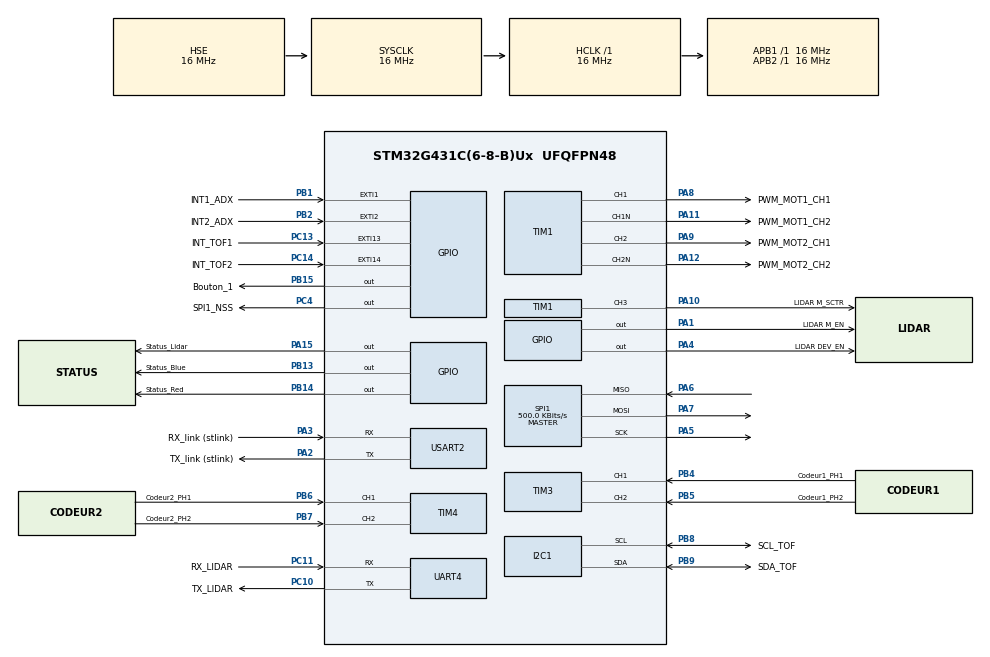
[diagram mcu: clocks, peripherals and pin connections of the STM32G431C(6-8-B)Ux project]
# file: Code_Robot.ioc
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I2C1.Timing=0x00503D58
Mcu.Family=STM32G4
Mcu.Name=STM32G431C(6-8-B)Ux
Mcu.Package=UFQFPN48
NVIC.EXTI1_IRQn=true\:0\:0\:false\:false\:true\:true\:true\:true
NVIC.EXTI2_IRQn=true\:0\:0\:false\:false\:true\:true\:true\:true
NVIC.PriorityGroup=NVIC_PRIORITYGROUP_4
PA1.GPIO_Label=LIDAR M_EN
PA1.Signal=GPIO_Output
PA10.GPIO_Label=LIDAR M_SCTR
PA10.Signal=S_TIM1_CH3
PA11.GPIO_Label=PWM_MOT1_CH2
PA11.Mode=PWM Generation1 CH1 CH1N
PA11.Signal=TIM1_CH1N
PA12.GPIO_Label=PWM_MOT2_CH2
PA12.Mode=PWM Generation2 CH2 CH2N
PA12.Signal=TIM1_CH2N
PA13.Mode=Serial_Wire
PA13.Signal=SYS_JTMS-SWDIO
PA14.Mode=Serial_Wire
PA14.Signal=SYS_JTCK-SWCLK
PA15.GPIO_Label=Status_Lidar
PA15.Signal=GPIO_Output
PA2.GPIO_Label=TX_link (stlink)
PA2.Mode=Asynchronous
PA2.Signal=USART2_TX
PA3.GPIO_Label=RX_link (stlink)
PA3.Mode=Asynchronous
PA3.Signal=USART2_RX
PA4.GPIO_Label=LIDAR DEV_EN
PA4.Signal=GPIO_Output
PA5.Mode=Full_Duplex_Master
PA5.Signal=SPI1_SCK
PA6.Mode=Full_Duplex_Master
PA6.Signal=SPI1_MISO
PA7.Mode=Full_Duplex_Master
PA7.Signal=SPI1_MOSI
PA8.GPIO_Label=PWM_MOT1_CH1
PA8.Signal=S_TIM1_CH1
PA9.GPIO_Label=PWM_MOT2_CH1
PA9.Signal=S_TIM1_CH2
PB1.GPIO_Label=INT1_ADX
PB1.Signal=GPXTI1
PB13.GPIO_Label=Status_Blue
PB13.Signal=GPIO_Output
PB14.GPIO_Label=Status_Red
PB14.Signal=GPIO_Output
PB15.GPIO_Label=Bouton_1
PB15.Signal=GPIO_Output
PB2.GPIO_Label=INT2_ADX
PB2.Signal=GPXTI2
PB4.GPIO_Label=Codeur1_PH1
PB4.Signal=S_TIM3_CH1
PB5.GPIO_Label=Codeur1_PH2
PB5.Signal=S_TIM3_CH2
PB6.GPIO_Label=Codeur2_PH1
PB6.Signal=S_TIM4_CH1
PB7.GPIO_Label=Codeur2_PH2
PB7.Signal=S_TIM4_CH2
PB8-BOOT0.GPIO_Label=SCL_TOF
PB8-BOOT0.Mode=I2C
PB8-BOOT0.Signal=I2C1_SCL
PB9.GPIO_Label=SDA_TOF
PB9.Mode=I2C
PB9.Signal=I2C1_SDA
PC10.GPIO_Label=TX_LIDAR
PC10.Mode=Asynchronous
PC10.Signal=UART4_TX
PC11.GPIO_Label=RX_LIDAR
PC11.Mode=Asynchronous
PC11.Signal=UART4_RX
PC13.GPIO_Label=INT_TOF1
PC13.Signal=GPXTI13
PC14-OSC32_IN.GPIO_Label=INT_TOF2
PC14-OSC32_IN.Signal=GPXTI14
PC4.GPIO_Label=SPI1_NSS
PC4.PinState=GPIO_PIN_SET
PC4.Signal=GPIO_Output
PF0-OSC_IN.Mode=HSE-External-Oscillator
PF0-OSC_IN.Signal=RCC_OSC_IN
PF1-OSC_OUT.Mode=HSE-External-Oscillator
PF1-OSC_OUT.Signal=RCC_OSC_OUT
ProjectManager.HeapSize=0x200
ProjectManager.StackSize=0x400
ProjectManager.TargetToolchain=STM32CubeIDE
RCC.ADC12Freq_Value=16000000
RCC.AHBFreq_Value=16000000
RCC.APB1Freq_Value=16000000
RCC.APB1TimFreq_Value=16000000
RCC.APB2Freq_Value=16000000
RCC.APB2TimFreq_Value=16000000
RCC.CortexFreq_Value=16000000
RCC.EXTERNAL_CLOCK_VALUE=12288000
RCC.HCLKFreq_Value=16000000
RCC.HSE_VALUE=16000000
RCC.HSI48_VALUE=48000000
RCC.HSI_VALUE=16000000
RCC.LSE_VALUE=32768
RCC.PLLSourceVirtual=RCC_PLLSOURCE_HSE
RCC.SYSCLKFreq_VALUE=16000000
RCC.SYSCLKSource=RCC_SYSCLKSOURCE_HSE
RCC.USBFreq_Value=64000000
RCC.VCOOutputFreq_Value=128000000
SH.S_TIM1_CH1.0=TIM1_CH1,PWM Generation1 CH1 CH1N
SH.S_TIM1_CH2.0=TIM1_CH2,PWM Generation2 CH2 CH2N
SH.S_TIM1_CH3.0=TIM1_CH3,PWM Generation3 CH3
SH.S_TIM3_CH1.0=TIM3_CH1,Encoder_Interface
SH.S_TIM3_CH2.0=TIM3_CH2,Encoder_Interface
SH.S_TIM4_CH1.0=TIM4_CH1,Encoder_Interface
SH.S_TIM4_CH2.0=TIM4_CH2,Encoder_Interface
SPI1.BaudRatePrescaler=SPI_BAUDRATEPRESCALER_32
SPI1.CLKPhase=SPI_PHASE_2EDGE
SPI1.CLKPolarity=SPI_POLARITY_HIGH
SPI1.CalculateBaudRate=500.0 KBits/s
SPI1.DataSize=SPI_DATASIZE_8BIT
SPI1.Direction=SPI_DIRECTION_2LINES
SPI1.Mode=SPI_MODE_MASTER
SPI1.VirtualType=VM_MASTER
TIM1.Channel-PWM\ Generation1\ CH1\ CH1N=TIM_CHANNEL_1
TIM1.Channel-PWM\ Generation2\ CH2\ CH2N=TIM_CHANNEL_2
TIM1.Channel-PWM\ Generation3\ CH3=TIM_CHANNEL_3
USART2.VirtualMode-Asynchronous=VM_ASYNC
VP_SYS_VS_DBSignals.Mode=DisableDeadBatterySignals
board=custom

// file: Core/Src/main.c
/* USER CODE BEGIN Header */
/**
 ******************************************************************************
 * @file           : main.c
 * @brief          : Main program body
 ******************************************************************************
 * @attention
 *
 * Copyright (c) 2024 STMicroelectronics.
 * All rights reserved.
 *
 * This software is licensed under terms that can be found in the LICENSE file
 * in the root directory of this software component.
 * If no LICENSE file comes with this software, it is provided AS-IS.
 *
 ******************************************************************************
 */
/* USER CODE END Header */
#include "main.h"
#include "i2c.h"
#include "spi.h"
#include "tim.h"
#include "usart.h"
#include "gpio.h"

/* USER CODE BEGIN Includes */

#include "ADXL343_SPI.h"

int _write(int file, char *ptr, int len) {
	HAL_UART_Transmit(&huart2, (uint8_t *)ptr, len, HAL_MAX_DELAY);
	return len;
}

extern SPI_HandleTypeDef hspi1;
ADXL343 accelerometer;

/* USER CODE END Includes */

void SystemClock_Config(void);

/* USER CODE BEGIN 0 */

void SystemClock_Config(void);
/* USER CODE BEGIN PFP */

/* USER CODE END PFP */

/* Private user code ---------------------------------------------------------*/
/* USER CODE BEGIN 0 */

/* USER CODE END 0 */

int main(void)
{

  /* MCU Configuration--------------------------------------------------------*/

  /* Reset of all peripherals, Initializes the Flash interface and the Systick. */
  HAL_Init();

  /* Configure the system clock */
  SystemClock_Config();

  /* Initialize all configured peripherals */
  MX_GPIO_Init();
  MX_I2C1_Init();
  MX_SPI1_Init();
  MX_USART2_UART_Init();
  MX_TIM1_Init();
  MX_TIM3_Init();
  MX_TIM4_Init();
  MX_UART4_Init();
  /* USER CODE BEGIN 2 */

	ADXL343_initialization(&hspi1, &accelerometer);
	ADXL343_EnableTapInterrupts(&accelerometer);
	ADXL343_set_tap_parameters(&accelerometer, 20, 1, 80, 200);
	ADXL343_SetDataFormat(&accelerometer);

  /* USER CODE END 2 */

  /* Infinite loop */
  /* USER CODE BEGIN WHILE */

	while (1)
	{
		HAL_GPIO_TogglePin(GPIOB, Status_Red_Pin|Status_Blue_Pin);
		HAL_Delay(200);

		ADXL343_get_acc_raw(&accelerometer);
		ADXL343_get_acc_norm(&accelerometer);
		ADXL343_print_raw(&accelerometer, &huart2);
		//ADXL343_print_norm(&accelerometer, &huart2);
		ADXL343_check_tap(&accelerometer);
		HAL_Delay(1000);

    /* USER CODE END WHILE */

	}
}

void SystemClock_Config(void)
{
  RCC_OscInitTypeDef RCC_OscInitStruct = {0};
  RCC_ClkInitTypeDef RCC_ClkInitStruct = {0};

  /** Configure the main internal regulator output voltage
  */
  HAL_PWREx_ControlVoltageScaling(PWR_REGULATOR_VOLTAGE_SCALE1);

  /** Initializes the RCC Oscillators according to the specified parameters
  * in the RCC_OscInitTypeDef structure.
  */
  RCC_OscInitStruct.OscillatorType = RCC_OSCILLATORTYPE_HSE;
  RCC_OscInitStruct.HSEState = RCC_HSE_ON;
  RCC_OscInitStruct.PLL.PLLState = RCC_PLL_NONE;
  if (HAL_RCC_OscConfig(&RCC_OscInitStruct) != HAL_OK)
  {
    Error_Handler();
  }

  /** Initializes the CPU, AHB and APB buses clocks
  */
  RCC_ClkInitStruct.ClockType = RCC_CLOCKTYPE_HCLK|RCC_CLOCKTYPE_SYSCLK
                              |RCC_CLOCKTYPE_PCLK1|RCC_CLOCKTYPE_PCLK2;
  RCC_ClkInitStruct.SYSCLKSource = RCC_SYSCLKSOURCE_HSE;
  RCC_ClkInitStruct.AHBCLKDivider = RCC_SYSCLK_DIV1;
  RCC_ClkInitStruct.APB1CLKDivider = RCC_HCLK_DIV1;
  RCC_ClkInitStruct.APB2CLKDivider = RCC_HCLK_DIV1;

  if (HAL_RCC_ClockConfig(&RCC_ClkInitStruct, FLASH_LATENCY_0) != HAL_OK)
  {
    Error_Handler();
  }
}

void Error_Handler(void)
{
	__disable_irq();
	while (1)
	{
	}
}
